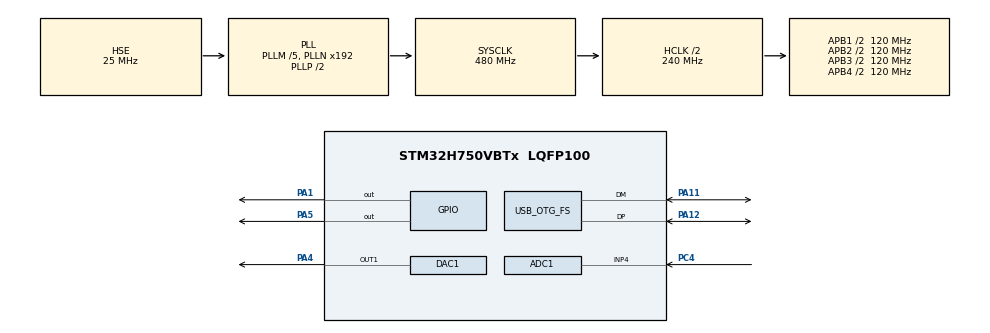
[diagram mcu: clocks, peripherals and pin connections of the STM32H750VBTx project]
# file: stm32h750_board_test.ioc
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ADC1.Channel-1\#ChannelRegularConversion=ADC_CHANNEL_4
ADC1.ClockPrescaler=ADC_CLOCK_ASYNC_DIV1
ADC1.ContinuousConvMode=DISABLE
ADC1.EnableInjectedConversion=DISABLE
ADC1.ExternalTrigConv=ADC_EXTERNALTRIG_T6_TRGO
ADC1.ExternalTrigConvEdge=ADC_EXTERNALTRIGCONVEDGE_RISING
ADC1.NbrOfConversionFlag=1
ADC1.OffsetNumber-1\#ChannelRegularConversion=ADC_OFFSET_NONE
ADC1.OffsetSignedSaturation-1\#ChannelRegularConversion=DISABLE
ADC1.Rank-1\#ChannelRegularConversion=1
ADC1.Resolution=ADC_RESOLUTION_16B
ADC1.SamplingTime-1\#ChannelRegularConversion=ADC_SAMPLETIME_1CYCLE_5
ADC1.master=1
DAC1.DAC1_OutputBuffer-DAC_OUT1=DAC_OUTPUTBUFFER_ENABLE
DAC1.DAC_Channel-DAC_OUT1=DAC_CHANNEL_1
DAC1.DAC_Trigger-DAC_OUT1=DAC_TRIGGER_T6_TRGO
DAC1.WaveGeneration-DAC_OUT1=DISABLE
Dma.ADC1.1.Direction=DMA_PERIPH_TO_MEMORY
Dma.ADC1.1.EventEnable=DISABLE
Dma.ADC1.1.FIFOMode=DMA_FIFOMODE_DISABLE
Dma.ADC1.1.Instance=DMA2_Stream0
Dma.ADC1.1.MemDataAlignment=DMA_MDATAALIGN_HALFWORD
Dma.ADC1.1.MemInc=DMA_MINC_ENABLE
Dma.ADC1.1.Mode=DMA_CIRCULAR
Dma.ADC1.1.PeriphDataAlignment=DMA_PDATAALIGN_HALFWORD
Dma.ADC1.1.PeriphInc=DMA_PINC_DISABLE
Dma.ADC1.1.Polarity=HAL_DMAMUX_REQ_GEN_RISING
Dma.ADC1.1.Priority=DMA_PRIORITY_LOW
Dma.ADC1.1.RequestNumber=1
Dma.ADC1.1.SignalID=NONE
Dma.ADC1.1.SyncEnable=DISABLE
Dma.ADC1.1.SyncPolarity=HAL_DMAMUX_SYNC_NO_EVENT
Dma.ADC1.1.SyncRequestNumber=1
Dma.ADC1.1.SyncSignalID=NONE
Dma.DAC1_CH1.0.Direction=DMA_MEMORY_TO_PERIPH
Dma.DAC1_CH1.0.EventEnable=DISABLE
Dma.DAC1_CH1.0.FIFOMode=DMA_FIFOMODE_DISABLE
Dma.DAC1_CH1.0.Instance=DMA1_Stream0
Dma.DAC1_CH1.0.MemDataAlignment=DMA_MDATAALIGN_HALFWORD
Dma.DAC1_CH1.0.MemInc=DMA_MINC_ENABLE
Dma.DAC1_CH1.0.Mode=DMA_CIRCULAR
Dma.DAC1_CH1.0.PeriphDataAlignment=DMA_PDATAALIGN_HALFWORD
Dma.DAC1_CH1.0.PeriphInc=DMA_PINC_DISABLE
Dma.DAC1_CH1.0.Polarity=HAL_DMAMUX_REQ_GEN_RISING
Dma.DAC1_CH1.0.Priority=DMA_PRIORITY_VERY_HIGH
Dma.DAC1_CH1.0.RequestNumber=1
Dma.DAC1_CH1.0.SignalID=NONE
Dma.DAC1_CH1.0.SyncEnable=DISABLE
Dma.DAC1_CH1.0.SyncPolarity=HAL_DMAMUX_SYNC_NO_EVENT
Dma.DAC1_CH1.0.SyncRequestNumber=1
Dma.DAC1_CH1.0.SyncSignalID=NONE
Dma.Request0=DAC1_CH1
Dma.Request1=ADC1
Mcu.Family=STM32H7
Mcu.Name=STM32H750VBTx
Mcu.Package=LQFP100
NVIC.ADC_IRQn=true\:0\:0\:false\:false\:true\:true\:true\:true
NVIC.DMA1_Stream0_IRQn=true\:0\:0\:false\:false\:true\:false\:true\:true
NVIC.DMA2_Stream0_IRQn=true\:0\:0\:false\:false\:true\:false\:true\:true
NVIC.OTG_FS_EP1_IN_IRQn=true\:0\:0\:false\:false\:true\:true\:true\:true
NVIC.OTG_FS_EP1_OUT_IRQn=true\:0\:0\:false\:false\:true\:true\:true\:true
NVIC.OTG_FS_IRQn=true\:0\:0\:false\:false\:true\:false\:true\:true
NVIC.PriorityGroup=NVIC_PRIORITYGROUP_4
NVIC.TIM6_DAC_IRQn=true\:0\:0\:false\:false\:true\:true\:true\:true
PA1.Signal=GPIO_Output
PA11.Mode=Device_Only
PA11.Signal=USB_OTG_FS_DM
PA12.Mode=Device_Only
PA12.Signal=USB_OTG_FS_DP
PA4.Signal=COMP_DAC11_group
PA5.Signal=GPIO_Output
PC14-OSC32_IN\ (OSC32_IN).Mode=LSE-External-Oscillator
PC14-OSC32_IN\ (OSC32_IN).Signal=RCC_OSC32_IN
PC15-OSC32_OUT\ (OSC32_OUT).Mode=LSE-External-Oscillator
PC15-OSC32_OUT\ (OSC32_OUT).Signal=RCC_OSC32_OUT
PC4.Signal=ADCx_INP4
PH0-OSC_IN\ (PH0).Mode=HSE-External-Oscillator
PH0-OSC_IN\ (PH0).Signal=RCC_OSC_IN
PH1-OSC_OUT\ (PH1).Mode=HSE-External-Oscillator
PH1-OSC_OUT\ (PH1).Signal=RCC_OSC_OUT
ProjectManager.HeapSize=0x200
ProjectManager.StackSize=0x400
ProjectManager.TargetToolchain=STM32CubeIDE
RCC.ADCFreq_Value=75000000
RCC.APB1Freq_Value=120000000
RCC.APB2Freq_Value=120000000
RCC.APB3Freq_Value=120000000
RCC.APB4Freq_Value=120000000
RCC.CortexFreq_Value=480000000
RCC.D1PPRE=RCC_APB3_DIV2
RCC.D2PPRE1=RCC_APB1_DIV2
RCC.D2PPRE2=RCC_APB2_DIV2
RCC.D3PPRE=RCC_APB4_DIV2
RCC.DIVM1=5
RCC.DIVM2=2
RCC.DIVN1=192
RCC.DIVN2=12
RCC.HCLKFreq_Value=240000000
RCC.HPRE=RCC_HCLK_DIV2
RCC.PLL2FRACN=0
RCC.PLL3FRACN=0
RCC.PLLFRACN=0
RCC.PLLSourceVirtual=RCC_PLLSOURCE_HSE
RCC.SYSCLKFreq_VALUE=480000000
RCC.SYSCLKSource=RCC_SYSCLKSOURCE_PLLCLK
RCC.USBCLockSelection=RCC_USBCLKSOURCE_HSI48
RCC.USBFreq_Value=48000000
SH.ADCx_INP4.0=ADC1_INP4,IN4-Single-Ended
SH.COMP_DAC11_group.0=DAC1_OUT1,DAC_OUT1
TIM2.Period=240-1
TIM2.Prescaler=0
TIM2.TIM_MasterOutputTrigger=TIM_TRGO_UPDATE
TIM6.Period=240-1
TIM6.TIM_MasterOutputTrigger=TIM_TRGO_UPDATE
USB_DEVICE.CLASS_NAME_FS=CDC
USB_DEVICE.VirtualMode-CDC_FS=Cdc
USB_DEVICE.VirtualModeFS=Cdc_FS
USB_OTG_FS.VirtualMode=Device_Only
VP_MEMORYMAP_VS_MEMORYMAP.Mode=CurAppReg
VP_TIM2_VS_ClockSourceINT.Mode=Internal
VP_TIM6_VS_ClockSourceINT.Mode=Enable_Timer
VP_USB_DEVICE_VS_USB_DEVICE_CDC_FS.Mode=CDC_FS
board=custom

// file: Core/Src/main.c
/* USER CODE BEGIN Header */
/**
  ******************************************************************************
  * @file           : main.c
  * @brief          : Main program body
  ******************************************************************************
  * @attention
  *
  * Copyright (c) 2025 STMicroelectronics.
  * All rights reserved.
  *
  * This software is licensed under terms that can be found in the LICENSE file
  * in the root directory of this software component.
  * If no LICENSE file comes with this software, it is provided AS-IS.
  *
  ******************************************************************************
  */
/* USER CODE END Header */
#include "main.h"
#include "usb_device.h"

/* USER CODE BEGIN Includes */
#include <stdbool.h>
#include "usbd_cdc_if.h"
#include <string.h>
#include <stdlib.h>
#include <stdio.h>
#include "controller.h"
#include "commands.h"
//#include "arm_math.h"

/* USER CODE END Includes */

ADC_HandleTypeDef hadc1;
DMA_HandleTypeDef hdma_adc1;

DAC_HandleTypeDef hdac1;
DMA_HandleTypeDef hdma_dac1_ch1;

TIM_HandleTypeDef htim2;
TIM_HandleTypeDef htim6;

/* USER CODE BEGIN PV */
void fu(void);
/* USER CODE END PV */

void SystemClock_Config(void);
static void MX_GPIO_Init(void);
static void MX_DMA_Init(void);
static void MX_TIM2_Init(void);
static void MX_ADC1_Init(void);
static void MX_DAC1_Init(void);
static void MX_TIM6_Init(void);
/* USER CODE BEGIN PFP */

volatile uint8_t sweep_done = 0;
volatile uint8_t sweeping = 0;
extern USBD_HandleTypeDef hUsbDeviceFS;
volatile bool command_pending = false;
volatile bool start_ADC = false;

// How many wave cycles per DAC buffer

//#define DDS_BUFFER_SIZE 30

// --- Constants ---
float X_buffer[DDS_BUFFER_SIZE];
float Y_buffer[DDS_BUFFER_SIZE];
uint16_t sine_lut[LUT_SIZE];
uint16_t dac_buffer[DDS_BUFFER_SIZE];
uint16_t adc_buffer[DDS_BUFFER_SIZE];
uint16_t LIA_phi_acc_idx_buff[DDS_BUFFER_SIZE];
uint16_t X_Y_buffer_index = 0;
volatile bool usb_ready_to_transmit = false;
volatile bool sweep_step_request = false;
float X = 0.0f, Y = 0.0f;
float alpha = 0.001f;  // EMA filter coefficient
volatile float dc_offset = 0.0f;

uint8_t USB_recieve_buffer[USB_BUFFER_LENGTH];
char *connected_message = "AFM controller connected\r\n";

// Precompute sine and cosine tables
float sin_lut_lockin[LUT_SIZE];
float cos_lut_lockin[LUT_SIZE];

volatile uint32_t phase_acc = 0;
uint32_t delta_phase = 0;

uint16_t sine_lut_fixed[LUT_SIZE_FIXED];

float current_frequency = 32140.0f;  // Desired output frequency

float start_freq = 32000;
float end_freq = 32300;
float freq_spacing = 0.1;
float amplitude = 0.5;

void set_dds_frequency(float freq_hz)
{
	current_frequency = freq_hz;
	// Calculate phase increment for desired frequency
	delta_phase = (uint32_t)((current_frequency * (float)(1ULL << 32)) / DAC_SAMPLE_RATE);
}

void generate_sine_lut_fixed(float amplitude)
{
    for (int i = 0; i < LUT_SIZE_FIXED; ++i) {
        float angle = 2.0f * M_PI * i / LUT_SIZE_FIXED;
        float sine = sinf(angle); // -1 to +1
        float scaled = ((sine * amplitude * 0.5f) + 0.5f) * DAC_MAX;
        sine_lut_fixed[i] = (uint16_t)(scaled + 0.5f);
    }
}

// --- Generate sine LUT ---
void init_sine_lut(float amplitude)
{
    if (amplitude < 0.0f) amplitude = 0.0f;
    if (amplitude > 1.0f) amplitude = 1.0f;

    for (int i = 0; i < LUT_SIZE; i++) {
        float angle = ((float)i / LUT_SIZE) * 2.0f * M_PI;
        float sine_val = sinf(angle);
        float cos_val = cosf(angle);
        float scaled = ((sine_val * amplitude * 0.5f) + 0.5f) * DAC_MAX;

        if (scaled < 0) scaled = 0;
        if (scaled > DAC_MAX) scaled = DAC_MAX;

        sin_lut_lockin[i] = sine_val;
        cos_lut_lockin[i] = cos_val;
        sine_lut[i] = (uint16_t)scaled;
    }
}

// --- Fill half of the DMA buffer ---
void fill_buffer(int start, int end)
{
    for (int i = start; i < end; i++) {
        phase_acc += delta_phase;
        uint16_t index = phase_acc >> (32 - LUT_BITS); // Top 10 bits for LUT index
        dac_buffer[i] = sine_lut[index];
        LIA_phi_acc_idx_buff[i] = index;
    }
}

void calculate_LIA_quads(int start, int end)
{
	float sum = 0.0f;
	float sum_X = 0.0f;
	float sum_Y = 0.0f;

	for (int i = 0; i < DDS_BUFFER_SIZE; i++) {
	        sum += (float)adc_buffer[i];
	    }
	    dc_offset = sum / DDS_BUFFER_SIZE;
    for (int i = start; i < end; i++) {
//    	X_buffer[i] = (adc_buffer[i]-dc_offset)*sin_lut_lockin[LIA_phi_acc_idx_buff[i]];
//    	Y_buffer[i] = (adc_buffer[i]-dc_offset)*cos_lut_lockin[LIA_phi_acc_idx_buff[i]];
    	sum_X += (adc_buffer[i]-dc_offset)*sin_lut_lockin[LIA_phi_acc_idx_buff[i]];
    	sum_Y += (adc_buffer[i]-dc_offset)*cos_lut_lockin[LIA_phi_acc_idx_buff[i]];
    }
    X = sum_X/(float)(end-start);
    Y = sum_Y/(float)(end-start);

}

/* Provide the wrapper so old call sites keep working */
void handle_usb_command(const char* cmd)
{
    if (!cmd) return;
    Commands_ProcessLine(cmd);
}

void Send_XY_Over_USB_Raw(float x, float y)
{
    // Only send if USB is ready
    if (hUsbDeviceFS.dev_state != USBD_STATE_CONFIGURED) {
        return;
    }

//    uint8_t buffer[8];  // 4 bytes per float
//
//    // Copy the raw bytes of each float into the buffer
//    memcpy(&buffer[0], &x, sizeof(float));
//    memcpy(&buffer[4], &y, sizeof(float));
//
//    // Transmit the raw buffer over USB
//    CDC_Transmit_FS(buffer, sizeof(buffer));
//    printf("%u, %u\r\n", (uint16_t)X, (uint16_t)Y);
    printf("%.1f, %.1f\r\n", (double)x, (double)y);
}

// fixed LUT version
//void fill_buffer(int start, int end)
//{
//    for (int i = start; i < end; i++) {
//        dac_buffer[i] = sine_lut_fixed[i];
//    }
//}

// --- DMA callback handlers ---

void HAL_DAC_ConvHalfCpltCallbackCh1(DAC_HandleTypeDef* hdac)
{

    fill_buffer(0, DDS_BUFFER_SIZE / 2);
    HAL_GPIO_TogglePin(GPIOA, GPIO_PIN_5);
}

void HAL_DAC_ConvCpltCallbackCh1(DAC_HandleTypeDef* hdac)
{
    fill_buffer(DDS_BUFFER_SIZE / 2, DDS_BUFFER_SIZE);
    HAL_GPIO_TogglePin(GPIOA, GPIO_PIN_5);

}

//void HAL_ADC_ConvHalfCpltCallback(ADC_HandleTypeDef* hadc)
//{
//    HAL_GPIO_TogglePin(GPIOA, GPIO_PIN_1);
////    calculate_LIA_quads(0, DDS_BUFFER_SIZE/2);
//}

void HAL_ADC_ConvCpltCallback(ADC_HandleTypeDef* hadc)
{
//	calculate_LIA_quads(0, DDS_BUFFER_SIZE);
    HAL_GPIO_TogglePin(GPIOA, GPIO_PIN_1);
    usb_ready_to_transmit = true;
    sweep_step_request = true;
}

/* USER CODE END PFP */

int main(void)
{

  /* USER CODE BEGIN 1 */

    // Example: send X,Y periodically if ready
//    if (usb_ready_to_transmit) {
//        Send_XY_Over_USB_Raw(X, Y);
//        usb_ready_to_transmit = false;
//    }
  /* USER CODE END 1 */

  /* MCU Configuration--------------------------------------------------------*/

  /* Reset of all peripherals, Initializes the Flash interface and the Systick. */
  HAL_Init();

  /* Configure the system clock */
  SystemClock_Config();

  /* Initialize all configured peripherals */
  MX_GPIO_Init();
  MX_DMA_Init();
  MX_TIM2_Init();
  MX_ADC1_Init();
  MX_DAC1_Init();
  MX_USB_DEVICE_Init();
  MX_TIM6_Init();
  /* USER CODE BEGIN 2 */

  g_controller.init(&g_controller);
  //HAL_TIM_Base_Start(&htim2);          // ensure TIM2 is running so TRGO (update) happens

  //HAL_DAC_Start_DMA(&hdac1, DAC_CHANNEL_1, (uint32_t*)sine_lut, SINE_RESOLUTION, DAC_ALIGN_12B_R);
  //HAL_ADCEx_Calibration_Start(&hadc1, ADC_CALIB_OFFSET, ADC_SINGLE_ENDED);
  // Initialize sine LUT at 85% amplitude
  init_sine_lut(amplitude);

  // Set DDS frequency
  set_dds_frequency(current_frequency);

  // Fill the entire buffer initially
  fill_buffer(0, DDS_BUFFER_SIZE);

  // starting DAC and ADC DMAs

  HAL_TIM_Base_Start(&htim6);

  HAL_DAC_Start_DMA(&hdac1, DAC_CHANNEL_1, (uint32_t*)dac_buffer, DDS_BUFFER_SIZE, DAC_ALIGN_12B_R);
  HAL_ADC_Start_DMA(&hadc1, (uint32_t*)adc_buffer, DDS_BUFFER_SIZE);

//  generate_sine_lut_fixed(1.0f);
  //HAL_DAC_Start_DMA(&hdac1, DAC_CHANNEL_1, (uint32_t*)sine_lut_fixed, LUT_SIZE_FIXED, DAC_ALIGN_12B_R);

//  HAL_DAC_Start(&hdac1, DAC_CHANNEL_1);
//  for (int i = 0; i<10; i++){
//	  HAL_GPIO_TogglePin(GPIOA, GPIO_PIN_1);  // Or any LED pin you have
//      HAL_Delay(500);  // small delay to avoid busy-waiting
//  }

  // Check if USB connection is working message
  // Wait for host to open the COM port (USB configured)
  while (hUsbDeviceFS.dev_state != USBD_STATE_CONFIGURED)
  {
      HAL_Delay(10);  // small delay to avoid busy-waiting
  }
  HAL_Delay(50);  // small delay to avoid busy-waiting
  // Now it's safe to transmit
  CDC_Transmit_FS((uint8_t *)connected_message, strlen(connected_message));

  //HAL_TIM_Base_Start_IT(&htim2);  // Enable TIM2 Update interrupt
  // Start the timer
  //HAL_TIM_Base_Start(&htim6);

  /* USER CODE END 2 */

  /* Infinite loop */
  while (1)
  {

    /* USER CODE BEGIN 3 */
	  if (usb_ready_to_transmit && g_controller.quad_stream_enabled)
	  {
		  calculate_LIA_quads(0, DDS_BUFFER_SIZE);
		  Send_XY_Over_USB_Raw(X, Y);

	  }
  }
  /* USER CODE END 3 */
}

void SystemClock_Config(void)
{
  RCC_OscInitTypeDef RCC_OscInitStruct = {0};
  RCC_ClkInitTypeDef RCC_ClkInitStruct = {0};

  /** Supply configuration update enable
  */
  HAL_PWREx_ConfigSupply(PWR_LDO_SUPPLY);

  /** Configure the main internal regulator output voltage
  */
  __HAL_PWR_VOLTAGESCALING_CONFIG(PWR_REGULATOR_VOLTAGE_SCALE0);

  while(!__HAL_PWR_GET_FLAG(PWR_FLAG_VOSRDY)) {}

  /** Initializes the RCC Oscillators according to the specified parameters
  * in the RCC_OscInitTypeDef structure.
  */
  RCC_OscInitStruct.OscillatorType = RCC_OSCILLATORTYPE_HSI48|RCC_OSCILLATORTYPE_HSE;
  RCC_OscInitStruct.HSEState = RCC_HSE_ON;
  RCC_OscInitStruct.HSI48State = RCC_HSI48_ON;
  RCC_OscInitStruct.PLL.PLLState = RCC_PLL_ON;
  RCC_OscInitStruct.PLL.PLLSource = RCC_PLLSOURCE_HSE;
  RCC_OscInitStruct.PLL.PLLM = 5;
  RCC_OscInitStruct.PLL.PLLN = 192;
  RCC_OscInitStruct.PLL.PLLP = 2;
  RCC_OscInitStruct.PLL.PLLQ = 2;
  RCC_OscInitStruct.PLL.PLLR = 2;
  RCC_OscInitStruct.PLL.PLLRGE = RCC_PLL1VCIRANGE_2;
  RCC_OscInitStruct.PLL.PLLVCOSEL = RCC_PLL1VCOWIDE;
  RCC_OscInitStruct.PLL.PLLFRACN = 0;
  if (HAL_RCC_OscConfig(&RCC_OscInitStruct) != HAL_OK)
  {
    Error_Handler();
  }

  /** Initializes the CPU, AHB and APB buses clocks
  */
  RCC_ClkInitStruct.ClockType = RCC_CLOCKTYPE_HCLK|RCC_CLOCKTYPE_SYSCLK
                              |RCC_CLOCKTYPE_PCLK1|RCC_CLOCKTYPE_PCLK2
                              |RCC_CLOCKTYPE_D3PCLK1|RCC_CLOCKTYPE_D1PCLK1;
  RCC_ClkInitStruct.SYSCLKSource = RCC_SYSCLKSOURCE_PLLCLK;
  RCC_ClkInitStruct.SYSCLKDivider = RCC_SYSCLK_DIV1;
  RCC_ClkInitStruct.AHBCLKDivider = RCC_HCLK_DIV2;
  RCC_ClkInitStruct.APB3CLKDivider = RCC_APB3_DIV2;
  RCC_ClkInitStruct.APB1CLKDivider = RCC_APB1_DIV2;
  RCC_ClkInitStruct.APB2CLKDivider = RCC_APB2_DIV2;
  RCC_ClkInitStruct.APB4CLKDivider = RCC_APB4_DIV2;

  if (HAL_RCC_ClockConfig(&RCC_ClkInitStruct, FLASH_LATENCY_4) != HAL_OK)
  {
    Error_Handler();
  }
}

static void MX_ADC1_Init(void)
{

  ADC_MultiModeTypeDef multimode = {0};
  ADC_ChannelConfTypeDef sConfig = {0};

  /* USER CODE BEGIN ADC1_Init 1 */
  hadc1.Init.ConversionDataManagement = ADC_CONVERSIONDATA_DMA_CIRCULAR;
  /* USER CODE END ADC1_Init 1 */

  /** Common config
  */
  hadc1.Instance = ADC1;
  hadc1.Init.ClockPrescaler = ADC_CLOCK_ASYNC_DIV1;
  hadc1.Init.Resolution = ADC_RESOLUTION_16B;
  hadc1.Init.ScanConvMode = ADC_SCAN_DISABLE;
  hadc1.Init.EOCSelection = ADC_EOC_SINGLE_CONV;
  hadc1.Init.LowPowerAutoWait = DISABLE;
  hadc1.Init.ContinuousConvMode = DISABLE;
  hadc1.Init.NbrOfConversion = 1;
  hadc1.Init.DiscontinuousConvMode = DISABLE;
  hadc1.Init.ExternalTrigConv = ADC_EXTERNALTRIG_T6_TRGO;
  hadc1.Init.ExternalTrigConvEdge = ADC_EXTERNALTRIGCONVEDGE_RISING;
//  hadc1.Init.ConversionDataManagement = ADC_CONVERSIONDATA_DR;
  hadc1.Init.Overrun = ADC_OVR_DATA_PRESERVED;
  hadc1.Init.LeftBitShift = ADC_LEFTBITSHIFT_NONE;
  hadc1.Init.OversamplingMode = DISABLE;
  hadc1.Init.Oversampling.Ratio = 1;
  if (HAL_ADC_Init(&hadc1) != HAL_OK)
  {
    Error_Handler();
  }

  /** Configure the ADC multi-mode
  */
  multimode.Mode = ADC_MODE_INDEPENDENT;
  if (HAL_ADCEx_MultiModeConfigChannel(&hadc1, &multimode) != HAL_OK)
  {
    Error_Handler();
  }

  /** Configure Regular Channel
  */
  sConfig.Channel = ADC_CHANNEL_4;
  sConfig.Rank = ADC_REGULAR_RANK_1;
  sConfig.SamplingTime = ADC_SAMPLETIME_1CYCLE_5;
  sConfig.SingleDiff = ADC_SINGLE_ENDED;
  sConfig.OffsetNumber = ADC_OFFSET_NONE;
  sConfig.Offset = 0;
  sConfig.OffsetSignedSaturation = DISABLE;
  if (HAL_ADC_ConfigChannel(&hadc1, &sConfig) != HAL_OK)
  {
    Error_Handler();
  }

}

static void MX_DAC1_Init(void)
{

  DAC_ChannelConfTypeDef sConfig = {0};

  /** DAC Initialization
  */
  hdac1.Instance = DAC1;
  if (HAL_DAC_Init(&hdac1) != HAL_OK)
  {
    Error_Handler();
  }

  /** DAC channel OUT1 config
  */
  sConfig.DAC_SampleAndHold = DAC_SAMPLEANDHOLD_DISABLE;
  sConfig.DAC_Trigger = DAC_TRIGGER_T6_TRGO;
  sConfig.DAC_OutputBuffer = DAC_OUTPUTBUFFER_ENABLE;
  sConfig.DAC_ConnectOnChipPeripheral = DAC_CHIPCONNECT_DISABLE;
  sConfig.DAC_UserTrimming = DAC_TRIMMING_FACTORY;
  if (HAL_DAC_ConfigChannel(&hdac1, &sConfig, DAC_CHANNEL_1) != HAL_OK)
  {
    Error_Handler();
  }

}

static void MX_TIM2_Init(void)
{

  TIM_ClockConfigTypeDef sClockSourceConfig = {0};
  TIM_MasterConfigTypeDef sMasterConfig = {0};

  htim2.Instance = TIM2;
  htim2.Init.Prescaler = 0;
  htim2.Init.CounterMode = TIM_COUNTERMODE_UP;
  htim2.Init.Period = 240-1;
  htim2.Init.ClockDivision = TIM_CLOCKDIVISION_DIV1;
  htim2.Init.AutoReloadPreload = TIM_AUTORELOAD_PRELOAD_DISABLE;
  if (HAL_TIM_Base_Init(&htim2) != HAL_OK)
  {
    Error_Handler();
  }
  sClockSourceConfig.ClockSource = TIM_CLOCKSOURCE_INTERNAL;
  if (HAL_TIM_ConfigClockSource(&htim2, &sClockSourceConfig) != HAL_OK)
  {
    Error_Handler();
  }
  sMasterConfig.MasterOutputTrigger = TIM_TRGO_UPDATE;
  sMasterConfig.MasterSlaveMode = TIM_MASTERSLAVEMODE_DISABLE;
  if (HAL_TIMEx_MasterConfigSynchronization(&htim2, &sMasterConfig) != HAL_OK)
  {
    Error_Handler();
  }

}

static void MX_TIM6_Init(void)
{

  TIM_MasterConfigTypeDef sMasterConfig = {0};

  htim6.Instance = TIM6;
  htim6.Init.Prescaler = 0;
  htim6.Init.CounterMode = TIM_COUNTERMODE_UP;
  htim6.Init.Period = 240-1;
  htim6.Init.AutoReloadPreload = TIM_AUTORELOAD_PRELOAD_DISABLE;
  if (HAL_TIM_Base_Init(&htim6) != HAL_OK)
  {
    Error_Handler();
  }
  sMasterConfig.MasterOutputTrigger = TIM_TRGO_UPDATE;
  sMasterConfig.MasterSlaveMode = TIM_MASTERSLAVEMODE_DISABLE;
  if (HAL_TIMEx_MasterConfigSynchronization(&htim6, &sMasterConfig) != HAL_OK)
  {
    Error_Handler();
  }

}

static void MX_DMA_Init(void)
{

  /* DMA controller clock enable */
  __HAL_RCC_DMA1_CLK_ENABLE();
  __HAL_RCC_DMA2_CLK_ENABLE();

  /* DMA interrupt init */
  /* DMA1_Stream0_IRQn interrupt configuration */
  HAL_NVIC_SetPriority(DMA1_Stream0_IRQn, 0, 0);
  HAL_NVIC_EnableIRQ(DMA1_Stream0_IRQn);
  /* DMA2_Stream0_IRQn interrupt configuration */
  HAL_NVIC_SetPriority(DMA2_Stream0_IRQn, 0, 0);
  HAL_NVIC_EnableIRQ(DMA2_Stream0_IRQn);

}

static void MX_GPIO_Init(void)
{
  GPIO_InitTypeDef GPIO_InitStruct = {0};

  /* GPIO Ports Clock Enable */
  __HAL_RCC_GPIOC_CLK_ENABLE();
  __HAL_RCC_GPIOH_CLK_ENABLE();
  __HAL_RCC_GPIOA_CLK_ENABLE();

  /*Configure GPIO pin Output Level */
  HAL_GPIO_WritePin(GPIOA, GPIO_PIN_1|GPIO_PIN_5, GPIO_PIN_RESET);

  /*Configure GPIO pins : PA1 PA5 */
  GPIO_InitStruct.Pin = GPIO_PIN_1|GPIO_PIN_5;
  GPIO_InitStruct.Mode = GPIO_MODE_OUTPUT_PP;
  GPIO_InitStruct.Pull = GPIO_NOPULL;
  GPIO_InitStruct.Speed = GPIO_SPEED_FREQ_LOW;
  HAL_GPIO_Init(GPIOA, &GPIO_InitStruct);

  /*AnalogSwitch Config */
  HAL_SYSCFG_AnalogSwitchConfig(SYSCFG_SWITCH_PA1, SYSCFG_SWITCH_PA1_CLOSE);

}

void Error_Handler(void)
{
  __disable_irq();
  while (1)
  {
  }
}
